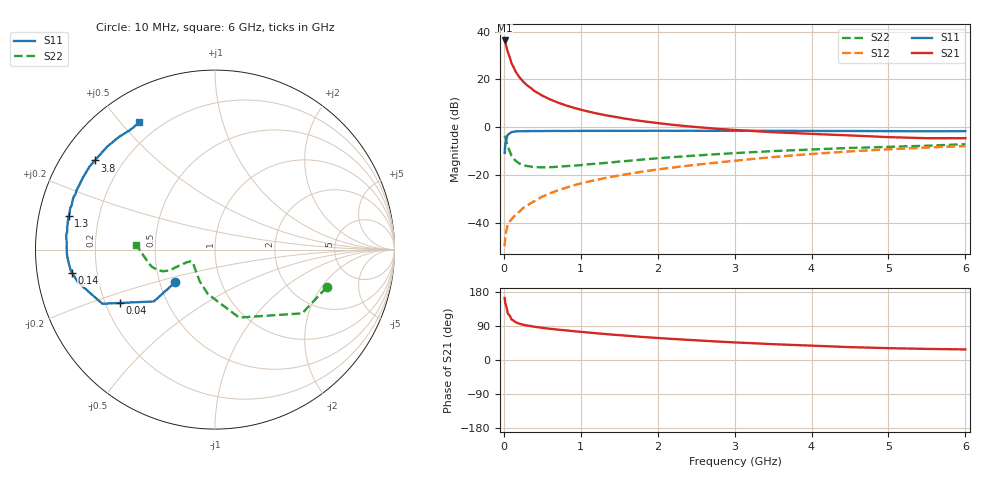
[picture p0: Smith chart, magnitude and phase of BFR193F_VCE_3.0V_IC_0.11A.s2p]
! Infineon Technologies  Discrete & RF Semiconductors
! BFR193F
! VCE =  3.0 V,  IC = 0.11 A
! Common Emitter S-Parameters:  Jan 2017
# GHz  S  MA  R  50
!  f  S11  S21  S12  S22
! GHz  MAG  ANG  MAG  ANG  MAG  ANG  MAG  ANG
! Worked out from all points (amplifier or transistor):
!   77 points, 10 MHz to 6 GHz, reference 50 ohm
!   highest |S21| = 36.3 dB at 10 MHz (marker M1)
!   |S21| within 3 dB of that: start of sweep to 36.25 MHz
!   unconditionally stable (mu >= 1): start of sweep to 13.36 MHz; 257.6 MHz to 3.178 GHz
!   at 130 MHz: K = 0.80, MSG = 31.2 dB, |S12| = -37.5 dB
!   at 2.2 GHz: K = 1.10, MAG = 7.1 dB, |S12| = -16.9 dB
!   at 6 GHz: K = 0.96, MSG = 1.6 dB, |S12| = -7.9 dB
!   S11 on the Smith chart (normalised r, x): 10 MHz: 0.60, -0.24; 40 MHz: 0.26, -0.24; 140 MHz: 0.11, -0.08; 1.3 GHz: 0.09, +0.11; 3.8 GHz: 0.10, +0.33; 6 GHz: 0.13, +0.56
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0.01  0.2887 -140.6  65.53 163.8  0.0032 68.1  0.6566 -18.7
0.02  0.4465 -139.7  58.87 149.0  0.0052 65.1  0.6015 -36.2
0.04  0.6093 -150.8  43.86 134.4  0.0077 54.1  0.4479 -55.9
0.05  0.6962 -154.3  38.02 123.2  0.009 51.0  0.4017 -70.5
0.1  0.7862 -166.7  21.7 106.8  0.0118 50.7  0.2515 -98.8
0.14  0.806 -170.6  16.22 101.8  0.0138 54.3  0.208 -110.9
0.15  0.8115 -171.6  14.88 100.0  0.0143 55.1  0.1989 -114.7
0.2  0.8187 -174.7  11.26 95.9  0.0168 59.3  0.1735 -124.3
0.25  0.8228 -176.8  9.039 93.1  0.0201 62.9  0.1591 -132.4
0.3  0.8252 -178.4  7.569 91.0  0.0226 66.1  0.1534 -137.3
0.4  0.8268 179.2  5.684 87.5  0.0283 69.8  0.1456 -144.6
0.5  0.8269 177.4  4.564 84.9  0.0349 72.2  0.1435 -148.7
0.7  0.833 174.2  3.285 80.2  0.0472 74.8  0.148 -152.7
0.9  0.8328 171.6  2.57 76.2  0.0599 76.8  0.1554 -155.0
1.1  0.8353 169.3  2.118 72.4  0.0722 77.1  0.1665 -155.2
1.3  0.8366 166.9  1.806 68.9  0.0846 77.1  0.1764 -155.8
2.1  0.8387 159.2  1.165 56.8  0.1359 76.6  0.2289 -155.7
3.1  0.8378 150.3  0.854 45.5  0.2045 73.7  0.2911 -156.1
3.8  0.8335 143.4  0.746 39.4  0.2584 70.0  0.3296 -159.3
4.1  0.8308 140.3  0.711 37.1  0.2809 68.1  0.3448 -161.4
5.1  0.8231 129.5  0.611 30.8  0.3493 60.7  0.3903 -172.7
6  0.8246 120.7  0.586 27.9  0.4013 54.2  0.4398 176.6
